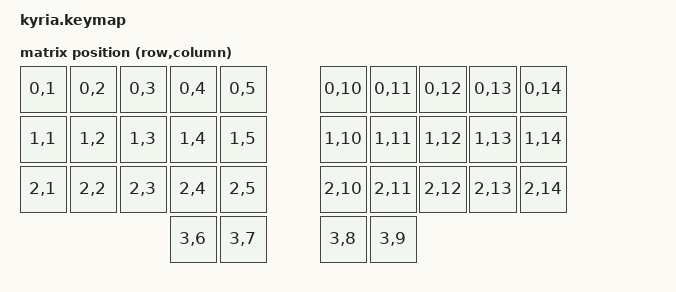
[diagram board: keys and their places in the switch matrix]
#include "standard-keymap.keymap"
#include <dt-bindings/zmk/matrix_transform.h>

/ {
    chosen {
        zmk,matrix_transform = &kyria_transform;
    };
        
    kyria_transform: kyria_transform {
        compatible = "zmk,matrix-transform";
        columns = <10>;
        rows = <4>;

		map = <
			RC(0,1) RC(0,2) RC(0,3) RC(0,4) RC(0,5)   RC(0,10) RC(0,11) RC(0,12) RC(0,13) RC(0,14)
			RC(1,1) RC(1,2) RC(1,3) RC(1,4) RC(1,5)   RC(1,10) RC(1,11) RC(1,12) RC(1,13) RC(1,14)
			RC(2,1) RC(2,2) RC(2,3) RC(2,4) RC(2,5)   RC(2,10) RC(2,11) RC(2,12) RC(2,13) RC(2,14)
									RC(3,6) RC(3,7)   RC(3,8) RC(3,9)
		>;
    };
};

